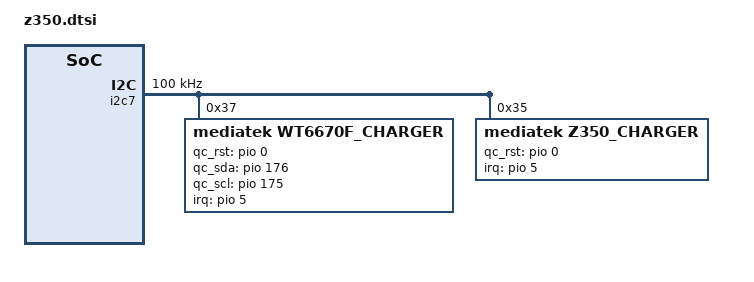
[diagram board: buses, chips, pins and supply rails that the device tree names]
&i2c7 {
	clock-frequency = <100000>;
	wt6670f_charger@37 {
		compatible = "mediatek,wt6670f_charger";
		reg = <0x37>;
		interrupt-parent = <&pio>;
		interrupts = <5 IRQ_TYPE_EDGE_FALLING 5 0>;
		pinctrl-names = "qc_normal", "qc_isp";
		pinctrl-0 = <&qc_sda_normal &qc_scl_normal>;
		pinctrl-1 = <&qc_sda_isp &qc_scl_isp>;
		mtk,qc_rst_gpio = <&pio 0 0x00>;
		mtk,qc_sda_gpio = <&pio 176 0x00>;
		mtk,qc_scl_gpio = <&pio 175 0x00>;

		alias_name  = "wt6670f";
		en_intb;
		en_sleep;
	};

	z350_charger@35 {
		compatible = "mediatek,z350_charger";
		reg = <0x35>;
		interrupt-parent = <&pio>;
		interrupts = <5 IRQ_TYPE_EDGE_FALLING 5 0>;
		mtk,qc_rst_gpio = <&pio 0 0x00>;

		alias_name  = "z350";
		en_intb;
		en_sleep;
	};
};

&pio {
	/* z350 */
	qc_sda_normal: qc_sda_normal {
		pins_cmd_dat {
			pinmux = <PINMUX_GPIO176__FUNC_SDA7>;
			slew-rate = <0>;
			bias-pull-up;
			input-enable;
		};
	};

	qc_sda_isp: qc_sda_isp {
		pins_cmd_dat {
			pinmux = <PINMUX_GPIO176__FUNC_GPIO176>;
			slew-rate = <1>;
			//bias-disable;
			//output-low;
		};
	};

	qc_scl_normal: qc_scl_normal {
		pins_cmd_dat {
			pinmux = <PINMUX_GPIO175__FUNC_SCL7>;
			slew-rate = <0>;
			bias-pull-up;
			input-enable;
		};
	};

	qc_scl_isp: qc_scl_isp {
		pins_cmd_dat {
			pinmux = <PINMUX_GPIO175__FUNC_GPIO175>;
			slew-rate = <1>;
			//bias-disable;
			//output-low;
		};
	};
};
